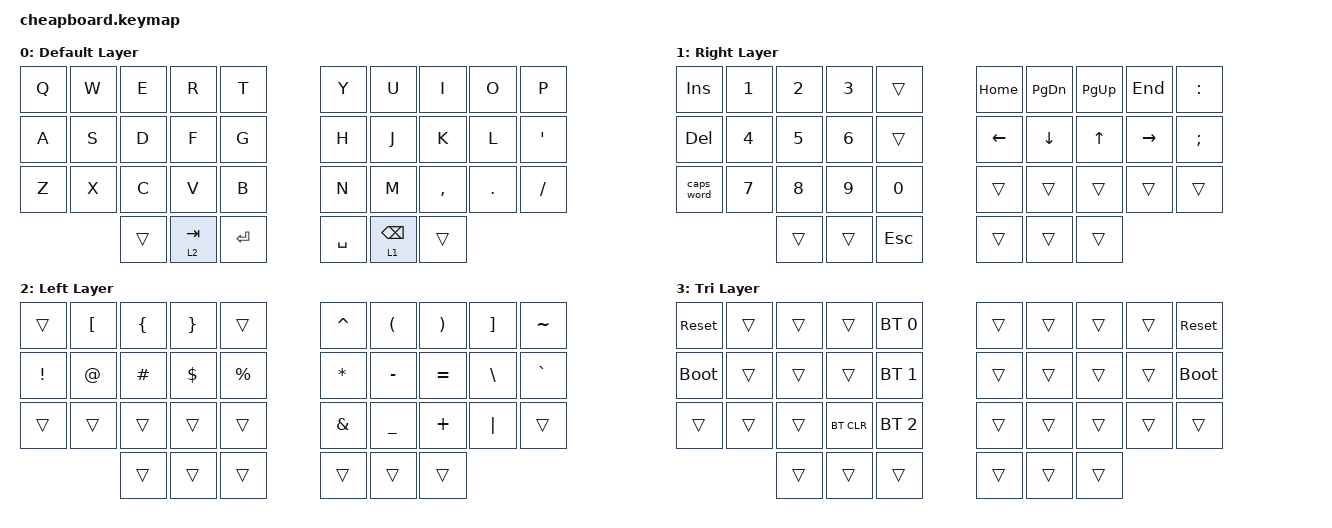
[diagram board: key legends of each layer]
// Copyright (c) 2022 The ZMK Contributors
// SPDX-License-Identifier: MIT

#include <behaviors.dtsi>
#include <dt-bindings/zmk/keys.h>
#include <dt-bindings/zmk/bt.h>

// Home row mods macro
/ {
    keymap {
        compatible = "zmk,keymap";
        default_layer {
            display-name = "Default Layer";
            bindings = <
        //╭──────────┬──────────┬──────────┬──────────┬──────────╮   ╭──────────┬──────────┬──────────┬──────────┬──────────╮
        //│  Q       │  W       │  E       │  R       │  T       │   │  Y       │  U       │  I       │  O       │  P       │
            &kp Q      &kp W      &kp E      &kp R      &kp T          &kp Y      &kp U      &kp I      &kp O      &kp P
        //├──────────┼──────────┼──────────┼──────────┼──────────┤   ├──────────┼──────────┼──────────┼──────────┼──────────┤
        //│  A       │  S       │  D       │  F       │  G       │   │  H       │  J       │  K       │  L       │ ' "      │
            &kp A      &kp S      &kp D      &kp F      &kp G          &kp H      &kp J      &kp K      &kp L      &kp SQT
        //├──────────┼──────────┼──────────┼──────────┼──────────┤   ├──────────┼──────────┼──────────┼──────────┼──────────┤
        //│  Z       │  X       │  C       │  V       │  B       │   │  N       │  M       │ , <      │ . >      │ / ?      │
            &kp Z      &kp X      &kp C      &kp V      &kp B          &kp N      &kp M      &kp COMMA  &kp DOT    &kp FSLH
        //╰──────────┴──────────┴──────────┼──────────┼──────────┤   ├──────────┼──────────┼──────────┴──────────┴──────────╯
                                  &trans     &lt 2 TAB   &kp ENTER     &kp SPACE  &lt 1 BSPC &trans
        //                      ╰──────────┼──────────┴──────────╯   ╰──────────┴──────────┴──────────╯
            >;
        };

        right_layer {
            display-name = "Right Layer";
            bindings = <
        //╭──────────┬──────────┬──────────┬──────────┬──────────╮   ╭──────────┬──────────┬──────────┬──────────┬──────────╮
        //│ INSERT   │  1       │  2       │  3       │          │   │ HOME     │ PAGE DN  │ PAGE UP  │ END      │  :       │
            &kp INS    &kp N1     &kp N2     &kp N3     &trans         &kp HOME   &kp PG_DN  &kp PG_UP  &kp END    &kp COLON
        //├──────────┼──────────┼──────────┼──────────┼──────────┤   ├──────────┼──────────┼──────────┼──────────┼──────────┤
        //│ DELETE   │  4       │  5       │  6       │          │   │ LEFT     │ DOWN     │ UP       │ RIGHT    │  ;       │
            &kp DEL    &kp N4     &kp N5     &kp N6     &trans         &kp LEFT   &kp DOWN   &kp UP   &kp RIGHT   &kp SEMI
        //├──────────┼──────────┼──────────┼──────────┼──────────┤   ├──────────┼──────────┼──────────┼──────────┼──────────┤
        //│ CAPS     │  7       │  8       │  9       │  0       │   │          │          │          │          │          │
           &caps_word  &kp N7     &kp N8     &kp N9     &kp N0         &trans     &trans     &trans     &trans     &trans
        //╰──────────┴──────────┴──────────┼──────────┼──────────┤   ├──────────┼──────────┼──────────┴──────────┴──────────╯
                                  &trans     &trans     &kp ESC        &trans     &trans     &trans
        //                      ╰──────────┼──────────┴──────────╯   ╰──────────┴──────────┴──────────╯
            >;
        };

        left_layer {
            display-name = "Left Layer";
            bindings = <
        //╭──────────┬──────────┬──────────┬──────────┬──────────╮   ╭──────────┬──────────┬──────────┬──────────┬──────────╮
        //│          │  [       │  {       │  }       │          │   │  ^       │  (       │  )       │  ]       │  ~       │
            &trans     &kp LBKT   &kp LBRC   &kp RBRC   &trans         &kp CARET  &kp LPAR   &kp RPAR   &kp RBKT   &kp TILDE
        //├──────────┼──────────┼──────────┼──────────┼──────────┤   ├──────────┼──────────┼──────────┼──────────┼──────────┤
        //│  !       │  @       │  #       │  $       │  %       │   │  *       │  -       │  =       │  \       │  `       │
            &kp EXCL   &kp AT     &kp HASH   &kp DLLR   &kp PRCNT      &kp ASTRK  &kp MINUS  &kp EQUAL  &kp BSLH   &kp GRAVE
        //├──────────┼──────────┼──────────┼──────────┼──────────┤   ├──────────┼──────────┼──────────┼──────────┼──────────┤
        //│          │          │          │          │          │   │  &       │  _       │  +       │  │       │          │
            &trans     &trans     &trans     &trans     &trans         &kp AMPS   &kp UNDER  &kp PLUS   &kp PIPE   &trans
        //╰──────────┴──────────┴──────────┼──────────┼──────────┤   ├──────────┼──────────┼──────────┴──────────┴──────────╯
                                  &trans     &trans     &trans         &trans     &trans     &trans
        //                      ╰──────────┼──────────┴──────────╯   ╰──────────┴──────────┴──────────╯
            >;
        };

        tri_layer {
            display-name = "Tri Layer";
            bindings = <
        //╭──────────┬──────────┬──────────┬──────────┬──────────╮   ╭──────────┬──────────┬──────────┬──────────┬──────────╮
        //│ RESET    │          │          │          │PROFILE 0 │   │          │          │          │          │  RESET   │
           &sys_reset  &trans     &trans     &trans    &bt BT_SEL 0    &trans     &trans     &trans     &trans    &sys_reset
        //├──────────┼──────────┼──────────┼──────────┼──────────┤   ├──────────┼──────────┼──────────┼──────────┼──────────┤
        //│BOOTLOADER│          │          │          │PROFILE 1 │   │          │          │          │          │BOOTLOADER│
          &bootloader  &trans     &trans     &trans    &bt BT_SEL 1    &trans     &trans     &trans     &trans    &bootloader
        //├──────────┼──────────┼──────────┼──────────┼──────────┤   ├──────────┼──────────┼──────────┼──────────┼──────────┤
        //│          │          │          │ CLEAR BT │PROFILE 2 │   │          │          │          │          │          │
            &trans     &trans     &trans    &bt BT_CLR &bt BT_SEL 2    &trans     &trans     &trans     &trans     &trans
        //╰──────────┴──────────┴──────────┼──────────┼──────────┤   ├──────────┼──────────┼──────────┴──────────┴──────────╯
                                  &trans     &trans     &trans         &trans     &trans     &trans
        //                      ╰──────────┼──────────┴──────────╯   ╰──────────┴──────────┴──────────╯
            >;
        };
    };
};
